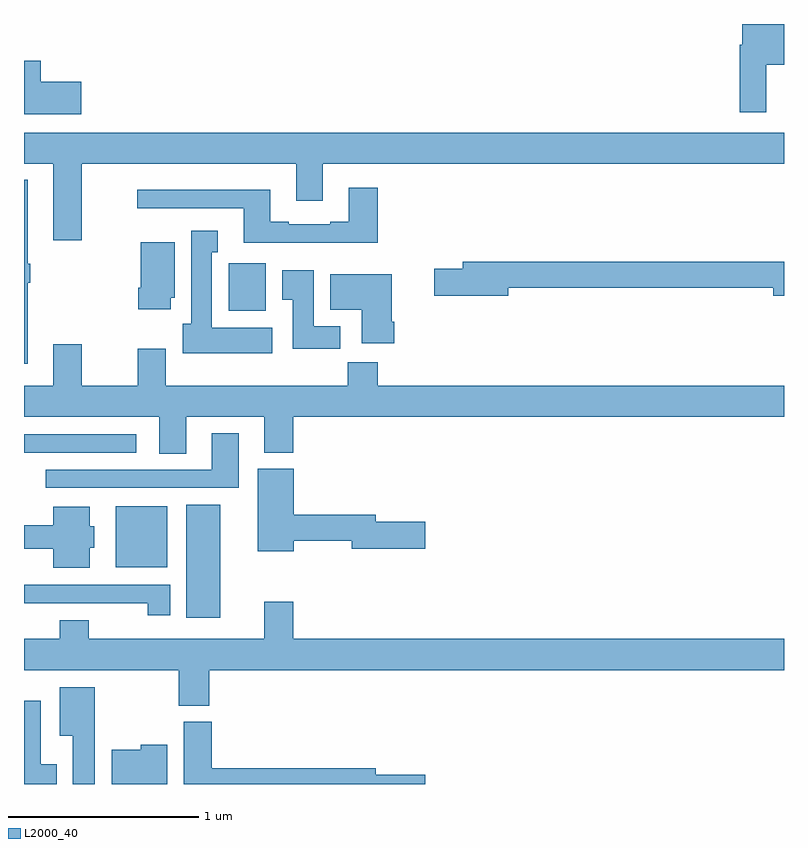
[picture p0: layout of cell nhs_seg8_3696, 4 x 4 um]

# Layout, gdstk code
import gdstk
lib = gdstk.Library(unit=1e-6, precision=1e-09)
def R(c, l, rs):  # rectangles x0, y0, x1, y1
    for r in rs: c.add(gdstk.rectangle(r[:2], r[2:], *l))
def P(c, l, *ps):  # polygons
    for p in ps: c.add(gdstk.Polygon(p, *l))
L2000_40 = (2000, 40)

nhs_seg8_3696 = lib.new_cell('nhs_seg8_3696')
R(nhs_seg8_3696, L2000_40, [(339.854,1116.776,340.033,1117.369), (339.482,1117.04,339.754,1117.363), (339,1117.644,339.592,1117.74), (340.077,1118.39,340.273,1118.64)])
P(nhs_seg8_3696, L2000_40, [(342.907,1119.686),(343,1119.686),(343,1119.9),(342.779,1119.9),(342.779,1119.79),(342.767,1119.79),(342.767,1119.435),(342.907,1119.435)],
  [(339.301,1119.596),(339.088,1119.596),(339.088,1119.706),(339,1119.706),(339,1119.425),(339.301,1119.425)],
  [(339.303,1119.164),(340.433,1119.164),(340.433,1118.97),(340.573,1118.97),(340.573,1119.164),(343,1119.164),(343,1119.328),(339,1119.328),(339,1119.164),(339.155,1119.164),(339.155,1118.763),(339.303,1118.763)],
  [(339.019,1118.537),(339.032,1118.537),(339.032,1118.637),(339.019,1118.637),(339.019,1119.079),(339,1119.079),(339,1118.112),(339.019,1118.112)],
  [(340.862,1119.037),(340.709,1119.037),(340.709,1118.86),(340.613,1118.86),(340.613,1118.847),(340.393,1118.847),(340.393,1118.86),(340.297,1118.86),(340.297,1119.028),(339.597,1119.028),(339.597,1118.931),(340.157,1118.931),(340.157,1118.75),(340.862,1118.75)],
  [(340.306,1118.302),(339.988,1118.302),(339.988,1118.699),(340.021,1118.699),(340.021,1118.812),(339.881,1118.812),(339.881,1118.322),(339.836,1118.322),(339.836,1118.168),(340.306,1118.168)],
  [(339.772,1118.46),(339.793,1118.46),(339.793,1118.752),(339.614,1118.752),(339.614,1118.512),(339.602,1118.512),(339.602,1118.4),(339.772,1118.4)],
  [(341.548,1118.512),(342.944,1118.512),(342.944,1118.47),(343,1118.47),(343,1118.648),(341.309,1118.648),(341.309,1118.612),(341.16,1118.612),(341.16,1118.47),(341.548,1118.47)],
  [(340.664,1118.308),(340.525,1118.308),(340.525,1118.605),(340.358,1118.605),(340.358,1118.449),(340.415,1118.449),(340.415,1118.19),(340.664,1118.19)],
  [(340.949,1118.332),(340.936,1118.332),(340.936,1118.584),(340.613,1118.584),(340.613,1118.396),(340.778,1118.396),(340.778,1118.22),(340.949,1118.22)],
  [(339.853,1117.832),(340.265,1117.832),(340.265,1117.643),(340.418,1117.643),(340.418,1117.832),(343,1117.832),(343,1117.996),(340.862,1117.996),(340.862,1118.12),(340.705,1118.12),(340.705,1117.996),(339.745,1117.996),(339.745,1118.191),(339.598,1118.191),(339.598,1117.996),(339.303,1117.996),(339.303,1118.215),(339.155,1118.215),(339.155,1117.996),(339,1117.996),(339,1117.832),(339.713,1117.832),(339.713,1117.639),(339.853,1117.639)],
  [(340.129,1117.747),(339.989,1117.747),(339.989,1117.554),(339.114,1117.554),(339.114,1117.458),(340.129,1117.458)],
  [(340.42,1117.18),(340.724,1117.18),(340.724,1117.138),(341.113,1117.138),(341.113,1117.28),(340.852,1117.28),(340.852,1117.316),(340.42,1117.316),(340.42,1117.558),(340.229,1117.558),(340.229,1117.124),(340.42,1117.124)],
  [(339.346,1117.143),(339.37,1117.143),(339.37,1117.257),(339.346,1117.257),(339.346,1117.36),(339.155,1117.36),(339.155,1117.261),(339,1117.261),(339,1117.139),(339.155,1117.139),(339.155,1117.037),(339.346,1117.037)],
  [(339.769,1116.948),(339,1116.948),(339,1116.852),(339.424,1116.852),(339.424,1116.851),(339.652,1116.851),(339.652,1116.789),(339.769,1116.789)],
  [(339.974,1116.5),(343,1116.5),(343,1116.664),(340.418,1116.664),(340.418,1116.859),(340.265,1116.859),(340.265,1116.664),(339.341,1116.664),(339.341,1116.763),(339.188,1116.763),(339.188,1116.664),(339,1116.664),(339,1116.5),(339.814,1116.5),(339.814,1116.313),(339.974,1116.313)],
  [(339.373,1116.409),(339.188,1116.409),(339.188,1116.155),(339.257,1116.155),(339.257,1115.9),(339.373,1115.9)],
  [(339.172,1116.004),(339.088,1116.004),(339.088,1116.337),(339,1116.337),(339,1115.9),(339.172,1115.9)],
  [(341.113,1115.948),(340.852,1115.948),(340.852,1115.984),(339.989,1115.984),(339.989,1116.228),(339.842,1116.228),(339.842,1115.9),(341.113,1115.9)],
  [(339.754,1116.106),(339.615,1116.106),(339.615,1116.079),(339.461,1116.079),(339.461,1115.9),(339.754,1115.9)])

lib.write_gds('nhs_seg8_3696.gds')
